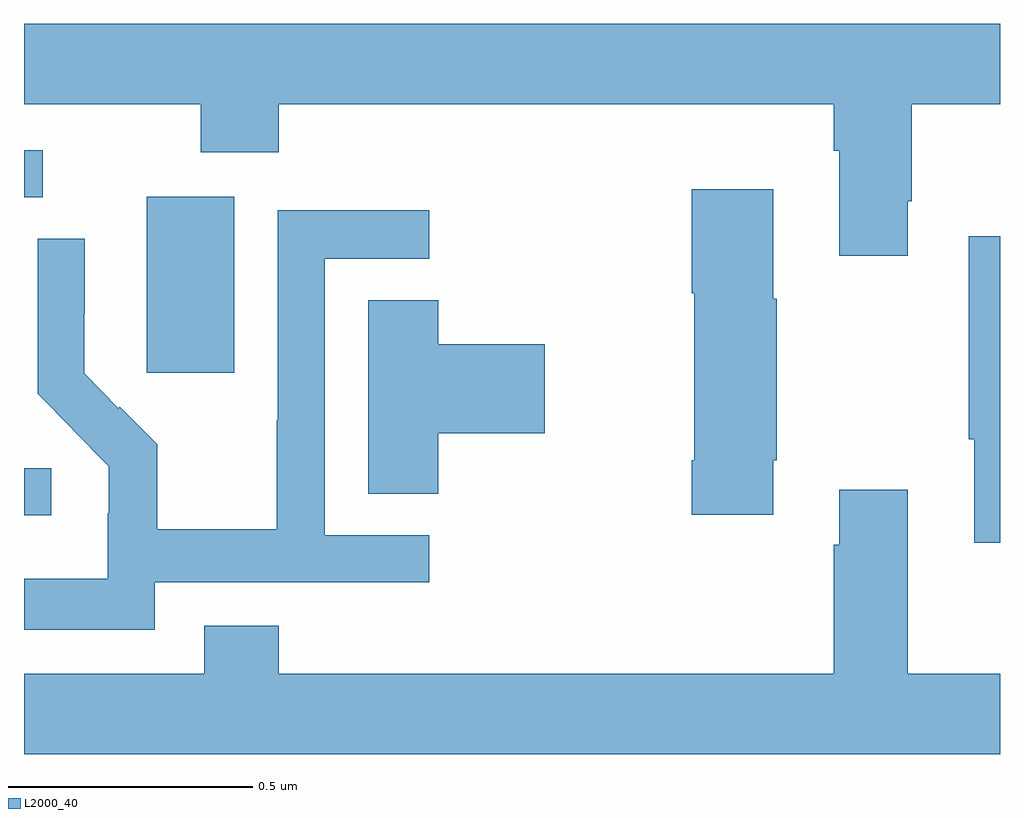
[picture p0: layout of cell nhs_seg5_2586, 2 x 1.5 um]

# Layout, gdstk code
import gdstk
lib = gdstk.Library(unit=1e-6, precision=1e-09)
def R(c, l, rs):  # rectangles x0, y0, x1, y1
    for r in rs: c.add(gdstk.rectangle(r[:2], r[2:], *l))
def P(c, l, *ps):  # polygons
    for p in ps: c.add(gdstk.Polygon(p, *l))
L2000_40 = (2000, 40)

nhs_seg5_2586 = lib.new_cell('nhs_seg5_2586')
R(nhs_seg5_2586, L2000_40, [(146,850.589,146.056,850.686), (146.252,850.881,146.431,851.242), (146,851.241,146.038,851.337)])
P(nhs_seg5_2586, L2000_40, [(147.811,851.233),(147.819,851.233),(147.819,851.432),(148,851.432),(148,851.596),(146,851.596),(146,851.432),(146.362,851.432),(146.362,851.333),(146.522,851.333),(146.522,851.432),(147.659,851.432),(147.659,851.336),(147.671,851.336),(147.671,851.121),(147.811,851.121)],
  [(147.535,850.702),(147.543,850.702),(147.543,851.033),(147.535,851.033),(147.535,851.257),(147.368,851.257),(147.368,851.044),(147.373,851.044),(147.373,850.702),(147.368,850.702),(147.368,850.59),(147.535,850.59)],
  [(146.268,850.452),(146.83,850.452),(146.83,850.548),(146.616,850.548),(146.616,851.115),(146.83,851.115),(146.83,851.214),(146.52,851.214),(146.52,850.784),(146.518,850.784),(146.518,850.561),(146.273,850.561),(146.273,850.735),(146.196,850.812),(146.193,850.809),(146.123,850.88),(146.123,851.002),(146.124,851.002),(146.124,851.156),(146.028,851.156),(146.028,850.838),(146.101,850.765),(146.1,850.764),(146.174,850.69),(146.174,850.593),(146.172,850.593),(146.172,850.459),(146,850.459),(146,850.355),(146.268,850.355)],
  [(148,851.161),(147.936,851.161),(147.936,850.745),(147.947,850.745),(147.947,850.533),(148,850.533)],
  [(146.849,850.757),(147.067,850.757),(147.067,850.94),(146.849,850.94),(146.849,851.03),(146.705,851.03),(146.705,850.633),(146.849,850.633)],
  [(148,850.264),(147.811,850.264),(147.811,850.642),(147.671,850.642),(147.671,850.529),(147.659,850.529),(147.659,850.264),(146.522,850.264),(146.522,850.363),(146.369,850.363),(146.369,850.264),(146,850.264),(146,850.1),(148,850.1)])

lib.write_gds('nhs_seg5_2586.gds')
